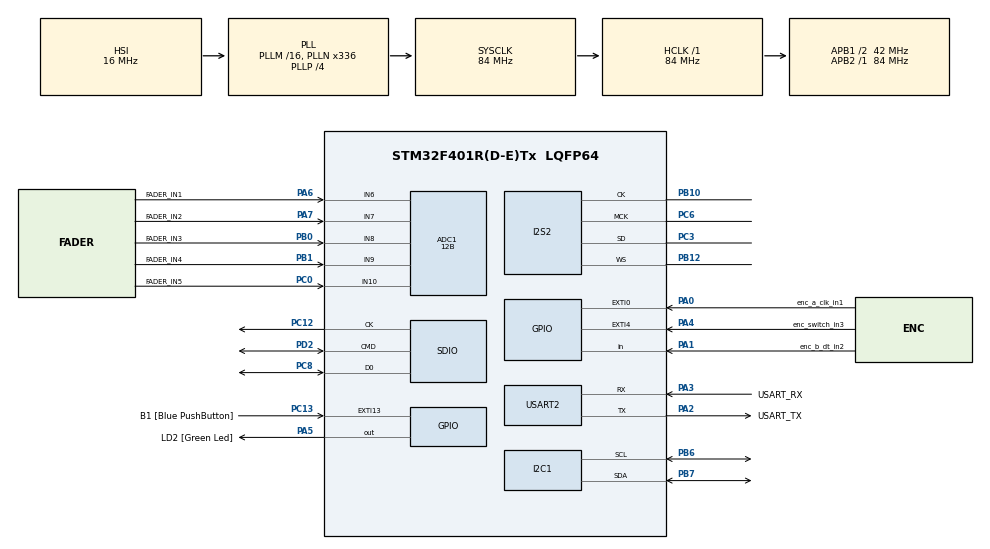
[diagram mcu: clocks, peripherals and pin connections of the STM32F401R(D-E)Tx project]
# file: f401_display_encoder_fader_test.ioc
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ADC1.Channel-0\#ChannelRegularConversion=ADC_CHANNEL_6
ADC1.Channel-1\#ChannelRegularConversion=ADC_CHANNEL_7
ADC1.Channel-2\#ChannelInjectedConversion=ADC_CHANNEL_6
ADC1.Channel-5\#ChannelRegularConversion=ADC_CHANNEL_8
ADC1.Channel-6\#ChannelRegularConversion=ADC_CHANNEL_9
ADC1.Channel-7\#ChannelRegularConversion=ADC_CHANNEL_10
ADC1.ContinuousConvMode=ENABLE
ADC1.DMAContinuousRequests=ENABLE
ADC1.DiscontinuousConvMode=DISABLE
ADC1.EOCSelection=ADC_EOC_SINGLE_CONV
ADC1.InjNumberOfConversion=1
ADC1.InjectedOffset-2\#ChannelInjectedConversion=0
ADC1.InjectedRank-2\#ChannelInjectedConversion=1
ADC1.NbrOfConversion=5
ADC1.NbrOfConversionFlag=1
ADC1.Rank-0\#ChannelRegularConversion=1
ADC1.Rank-1\#ChannelRegularConversion=2
ADC1.Rank-5\#ChannelRegularConversion=3
ADC1.Rank-6\#ChannelRegularConversion=4
ADC1.Rank-7\#ChannelRegularConversion=5
ADC1.Resolution=ADC_RESOLUTION_12B
ADC1.SamplingTime-0\#ChannelRegularConversion=ADC_SAMPLETIME_3CYCLES
ADC1.SamplingTime-1\#ChannelRegularConversion=ADC_SAMPLETIME_3CYCLES
ADC1.SamplingTime-2\#ChannelInjectedConversion=ADC_SAMPLETIME_3CYCLES
ADC1.SamplingTime-5\#ChannelRegularConversion=ADC_SAMPLETIME_3CYCLES
ADC1.SamplingTime-6\#ChannelRegularConversion=ADC_SAMPLETIME_3CYCLES
ADC1.SamplingTime-7\#ChannelRegularConversion=ADC_SAMPLETIME_3CYCLES
ADC1.master=1
Dma.ADC1.0.Direction=DMA_PERIPH_TO_MEMORY
Dma.ADC1.0.FIFOMode=DMA_FIFOMODE_DISABLE
Dma.ADC1.0.Instance=DMA2_Stream0
Dma.ADC1.0.MemDataAlignment=DMA_MDATAALIGN_WORD
Dma.ADC1.0.MemInc=DMA_MINC_ENABLE
Dma.ADC1.0.Mode=DMA_CIRCULAR
Dma.ADC1.0.PeriphDataAlignment=DMA_PDATAALIGN_WORD
Dma.ADC1.0.PeriphInc=DMA_PINC_DISABLE
Dma.ADC1.0.Priority=DMA_PRIORITY_LOW
Dma.Request0=ADC1
Dma.Request1=SDIO_RX
Dma.Request2=SDIO_TX
<<<<<<< HEAD:f401_display_encoder_fader_audio_integration/f401_display_encoder_fader_test.ioc
=======
Dma.Request3=SPI2_TX
>>>>>>> c7ea2e0bfee7c0fb2f2219cbbc4721e5d281f12d:f401_display_encoder_fader_test/f401_display_encoder_fader_test.ioc
Dma.SDIO_RX.1.Direction=DMA_PERIPH_TO_MEMORY
Dma.SDIO_RX.1.FIFOMode=DMA_FIFOMODE_ENABLE
Dma.SDIO_RX.1.FIFOThreshold=DMA_FIFO_THRESHOLD_FULL
Dma.SDIO_RX.1.Instance=DMA2_Stream3
Dma.SDIO_RX.1.MemBurst=DMA_MBURST_INC4
Dma.SDIO_RX.1.MemDataAlignment=DMA_MDATAALIGN_WORD
Dma.SDIO_RX.1.MemInc=DMA_MINC_ENABLE
Dma.SDIO_RX.1.Mode=DMA_PFCTRL
Dma.SDIO_RX.1.PeriphBurst=DMA_PBURST_INC4
Dma.SDIO_RX.1.PeriphDataAlignment=DMA_PDATAALIGN_WORD
Dma.SDIO_RX.1.PeriphInc=DMA_PINC_DISABLE
Dma.SDIO_RX.1.Priority=DMA_PRIORITY_LOW
Dma.SDIO_TX.2.Direction=DMA_MEMORY_TO_PERIPH
Dma.SDIO_TX.2.FIFOMode=DMA_FIFOMODE_ENABLE
Dma.SDIO_TX.2.FIFOThreshold=DMA_FIFO_THRESHOLD_FULL
Dma.SDIO_TX.2.Instance=DMA2_Stream6
Dma.SDIO_TX.2.MemBurst=DMA_MBURST_INC4
Dma.SDIO_TX.2.MemDataAlignment=DMA_MDATAALIGN_WORD
Dma.SDIO_TX.2.MemInc=DMA_MINC_ENABLE
Dma.SDIO_TX.2.Mode=DMA_PFCTRL
Dma.SDIO_TX.2.PeriphBurst=DMA_PBURST_INC4
Dma.SDIO_TX.2.PeriphDataAlignment=DMA_PDATAALIGN_WORD
Dma.SDIO_TX.2.PeriphInc=DMA_PINC_DISABLE
Dma.SDIO_TX.2.Priority=DMA_PRIORITY_LOW
<<<<<<< HEAD:f401_display_encoder_fader_audio_integration/f401_display_encoder_fader_test.ioc
=======
Dma.SPI2_TX.3.Direction=DMA_MEMORY_TO_PERIPH
Dma.SPI2_TX.3.FIFOMode=DMA_FIFOMODE_DISABLE
Dma.SPI2_TX.3.Instance=DMA1_Stream4
Dma.SPI2_TX.3.MemDataAlignment=DMA_MDATAALIGN_HALFWORD
Dma.SPI2_TX.3.MemInc=DMA_MINC_ENABLE
Dma.SPI2_TX.3.Mode=DMA_CIRCULAR
Dma.SPI2_TX.3.PeriphDataAlignment=DMA_PDATAALIGN_HALFWORD
Dma.SPI2_TX.3.PeriphInc=DMA_PINC_DISABLE
Dma.SPI2_TX.3.Priority=DMA_PRIORITY_LOW
>>>>>>> c7ea2e0bfee7c0fb2f2219cbbc4721e5d281f12d:f401_display_encoder_fader_test/f401_display_encoder_fader_test.ioc
FATFS._MAX_SS=4096
FATFS._USE_LFN=1
I2S2.AudioFreq=I2S_AUDIOFREQ_44K
I2S2.ErrorAudioFreq=-5.3 %
I2S2.FullDuplexMode=I2S_FULLDUPLEXMODE_DISABLE
I2S2.Instance=SPI$Index
I2S2.RealAudioFreq=41.666 KHz
I2S2.VirtualMode=I2S_MODE_MASTER
Mcu.Family=STM32F4
<<<<<<< HEAD:f401_display_encoder_fader_audio_integration/f401_display_encoder_fader_test.ioc
=======
>>>>>>> c7ea2e0bfee7c0fb2f2219cbbc4721e5d281f12d:f401_display_encoder_fader_test/f401_display_encoder_fader_test.ioc
Mcu.Name=STM32F401R(D-E)Tx
Mcu.Package=LQFP64
<<<<<<< HEAD:f401_display_encoder_fader_audio_integration/f401_display_encoder_fader_test.ioc
=======
>>>>>>> c7ea2e0bfee7c0fb2f2219cbbc4721e5d281f12d:f401_display_encoder_fader_test/f401_display_encoder_fader_test.ioc
NVIC.ADC_IRQn=true\:0\:0\:false\:false\:true\:true\:true\:true
NVIC.DMA1_Stream4_IRQn=true\:0\:0\:false\:false\:true\:false\:true\:true
NVIC.DMA2_Stream0_IRQn=true\:0\:0\:false\:false\:true\:false\:true\:true
NVIC.DMA2_Stream3_IRQn=true\:0\:0\:false\:false\:true\:false\:true\:true
NVIC.DMA2_Stream6_IRQn=true\:0\:0\:false\:false\:true\:false\:true\:true
NVIC.EXTI0_IRQn=true\:0\:0\:false\:false\:true\:true\:true\:true
NVIC.EXTI15_10_IRQn=true\:0\:0\:false\:false\:true\:true\:true\:true
NVIC.EXTI4_IRQn=true\:0\:0\:false\:false\:true\:true\:true\:true
NVIC.FPU_IRQn=true\:0\:0\:false\:false\:true\:true\:false\:true
NVIC.PriorityGroup=NVIC_PRIORITYGROUP_0
NVIC.SDIO_IRQn=true\:0\:0\:false\:false\:true\:true\:true\:true
<<<<<<< HEAD:f401_display_encoder_fader_audio_integration/f401_display_encoder_fader_test.ioc
=======
NVIC.SPI2_IRQn=true\:0\:0\:false\:false\:true\:true\:true\:true
>>>>>>> c7ea2e0bfee7c0fb2f2219cbbc4721e5d281f12d:f401_display_encoder_fader_test/f401_display_encoder_fader_test.ioc
NVIC.TIM3_IRQn=true\:0\:0\:false\:false\:true\:true\:true\:true
NVIC.TIM5_IRQn=true\:0\:0\:false\:false\:true\:true\:true\:true
NVIC.USART2_IRQn=true\:0\:0\:false\:false\:true\:true\:true\:true
PA0-WKUP.GPIO_Label=enc_a_clk_in1
PA0-WKUP.GPIO_PuPd=GPIO_PULLUP
PA0-WKUP.Signal=GPXTI0
PA1.GPIO_Label=enc_b_dt_in2
PA1.GPIO_PuPd=GPIO_PULLUP
PA1.Signal=GPIO_Input
PA13.GPIO_Label=TMS
PA13.Mode=Serial_Wire
PA13.Signal=SYS_JTMS-SWDIO
PA14.GPIO_Label=TCK
PA14.Mode=Serial_Wire
PA14.Signal=SYS_JTCK-SWCLK
PA2.GPIO_Label=USART_TX
PA2.GPIO_Mode=GPIO_MODE_AF_PP
PA2.GPIO_PuPd=GPIO_NOPULL
PA2.GPIO_Speed=GPIO_SPEED_FREQ_LOW
PA2.Mode=Asynchronous
PA2.Signal=USART2_TX
PA3.GPIO_Label=USART_RX
PA3.GPIO_Mode=GPIO_MODE_AF_PP
PA3.GPIO_PuPd=GPIO_NOPULL
PA3.GPIO_Speed=GPIO_SPEED_FREQ_LOW
PA3.Mode=Asynchronous
PA3.Signal=USART2_RX
PA4.GPIO_Label=enc_switch_in3
PA4.GPIO_PuPd=GPIO_PULLUP
PA4.Signal=GPXTI4
PA5.GPIO_Label=LD2 [Green Led]
PA5.GPIO_Mode=GPIO_MODE_OUTPUT_PP
PA5.GPIO_PuPd=GPIO_NOPULL
PA5.GPIO_Speed=GPIO_SPEED_FREQ_LOW
PA5.Signal=GPIO_Output
PA6.GPIO_Label=FADER_IN1
PA6.Signal=ADCx_IN6
PA7.GPIO_Label=FADER_IN2
PA7.Signal=ADCx_IN7
<<<<<<< HEAD:f401_display_encoder_fader_audio_integration/f401_display_encoder_fader_test.ioc
PB0.Signal=ADCx_IN8
PB1.Signal=ADCx_IN9
=======
PB0.GPIO_Label=FADER_IN3
PB0.Signal=ADCx_IN8
PB1.GPIO_Label=FADER_IN4
PB1.Signal=ADCx_IN9
PB10.Mode=Half_Duplex_Master
PB10.Signal=I2S2_CK
PB12.Mode=Half_Duplex_Master
PB12.Signal=I2S2_WS
>>>>>>> c7ea2e0bfee7c0fb2f2219cbbc4721e5d281f12d:f401_display_encoder_fader_test/f401_display_encoder_fader_test.ioc
PB3.GPIO_Label=SWO
PB3.Signal=SYS_JTDO-SWO
PB6.GPIO_Pu=GPIO_PULLUP
PB6.Mode=I2C
PB6.Signal=I2C1_SCL
PB7.GPIO_Pu=GPIO_PULLUP
PB7.Mode=I2C
PB7.Signal=I2C1_SDA
<<<<<<< HEAD:f401_display_encoder_fader_audio_integration/f401_display_encoder_fader_test.ioc
=======
PC0.GPIO_Label=FADER_IN5
>>>>>>> c7ea2e0bfee7c0fb2f2219cbbc4721e5d281f12d:f401_display_encoder_fader_test/f401_display_encoder_fader_test.ioc
PC0.Signal=ADCx_IN10
PC10.Signal=SDIO_D2
PC11.Signal=SDIO_D3
PC12.Mode=SD_1_bit
PC12.Signal=SDIO_CK
PC13-ANTI_TAMP.GPIO_Label=B1 [Blue PushButton]
PC13-ANTI_TAMP.GPIO_ModeDefaultEXTI=GPIO_MODE_IT_FALLING
PC13-ANTI_TAMP.GPIO_PuPd=GPIO_NOPULL
PC13-ANTI_TAMP.Signal=GPXTI13
PC14-OSC32_IN.Mode=LSE-External-Oscillator
PC14-OSC32_IN.Signal=RCC_OSC32_IN
PC15-OSC32_OUT.Mode=LSE-External-Oscillator
PC15-OSC32_OUT.Signal=RCC_OSC32_OUT
<<<<<<< HEAD:f401_display_encoder_fader_audio_integration/f401_display_encoder_fader_test.ioc
=======
PC3.GPIO_PuPd=GPIO_PULLUP
PC3.Mode=Half_Duplex_Master
PC3.Signal=I2S2_SD
PC6.Mode=Master_Clock_Activated
PC6.Signal=I2S2_MCK
>>>>>>> c7ea2e0bfee7c0fb2f2219cbbc4721e5d281f12d:f401_display_encoder_fader_test/f401_display_encoder_fader_test.ioc
PC8.GPIO_PuPd=GPIO_PULLUP
PC8.Mode=SD_1_bit
PC8.Signal=SDIO_D0
PC9.Signal=SDIO_D1
PD2.GPIO_PuPd=GPIO_PULLUP
PD2.Mode=SD_1_bit
PD2.Signal=SDIO_CMD
PH0\ -\ OSC_IN.Mode=HSE-External-Clock-Source
PH0\ -\ OSC_IN.Signal=RCC_OSC_IN
PH1\ -\ OSC_OUT.Mode=HSE-External-Clock-Source
PH1\ -\ OSC_OUT.Signal=RCC_OSC_OUT
ProjectManager.HeapSize=0x200
ProjectManager.StackSize=0x400
ProjectManager.TargetToolchain=STM32CubeIDE
<<<<<<< HEAD:f401_display_encoder_fader_audio_integration/f401_display_encoder_fader_test.ioc
=======
>>>>>>> c7ea2e0bfee7c0fb2f2219cbbc4721e5d281f12d:f401_display_encoder_fader_test/f401_display_encoder_fader_test.ioc
RCC.48MHZClocksFreq_Value=48000000
RCC.AHBFreq_Value=84000000
RCC.APB1CLKDivider=RCC_HCLK_DIV2
RCC.APB1Freq_Value=42000000
RCC.APB1TimFreq_Value=84000000
RCC.APB2Freq_Value=84000000
RCC.APB2TimFreq_Value=84000000
RCC.CortexFreq_Value=84000000
RCC.HCLKFreq_Value=84000000
RCC.HSE_VALUE=8000000
RCC.HSI_VALUE=16000000
RCC.PLLN=336
RCC.PLLP=RCC_PLLP_DIV4
RCC.PLLQ=7
RCC.SYSCLKFreq_VALUE=84000000
RCC.SYSCLKSource=RCC_SYSCLKSOURCE_PLLCLK
RCC.VCOOutputFreq_Value=336000000
SH.ADCx_IN10.0=ADC1_IN10,IN10
SH.ADCx_IN6.0=ADC1_IN6,IN6
SH.ADCx_IN7.0=ADC1_IN7,IN7
SH.ADCx_IN8.0=ADC1_IN8,IN8
SH.ADCx_IN9.0=ADC1_IN9,IN9
<<<<<<< HEAD:f401_display_encoder_fader_audio_integration/f401_display_encoder_fader_test.ioc
TIM3.Period=5000
=======
TIM3.Period=2500
>>>>>>> c7ea2e0bfee7c0fb2f2219cbbc4721e5d281f12d:f401_display_encoder_fader_test/f401_display_encoder_fader_test.ioc
TIM3.Prescaler=1680
TIM5.Period=8400
TIM5.Prescaler=100
USART2.VirtualMode=VM_ASYNC
VP_FATFS_VS_SDIO.Mode=SDIO
VP_TIM3_VS_ClockSourceINT.Mode=Internal
VP_TIM3_VS_OPM.Mode=OPM_bit
VP_TIM5_VS_ClockSourceINT.Mode=Internal
VP_TIM5_VS_OPM.Mode=OPM_bit
board=NUCLEO-F401RE

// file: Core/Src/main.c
<<<<<<< HEAD:f401_display_encoder_fader_audio_integration/Core/Src/main.c
/* USER CODE BEGIN Header */
/**
  ******************************************************************************
  * @file           : main.c
  * @brief          : Main program body
  ******************************************************************************
  * @attention
  *
  * Copyright (c) 2024 STMicroelectronics.
  * All rights reserved.
  *
  * This software is licensed under terms that can be found in the LICENSE file
  * in the root directory of this software component.
  * If no LICENSE file comes with this software, it is provided AS-IS.
  *
  ******************************************************************************
  */
/* USER CODE END Header */
#include "main.h"
#include "fatfs.h"

/* USER CODE BEGIN Includes */
#include <stdlib.h>
#include <stdbool.h>
#include "ssd1306.h"
#include "fonts.h"
#include "display.h"
#include "filemanager.h"
#include "audio.h"
#include "interface.h"
#include "util.h"
/* USER CODE END Includes */

ADC_HandleTypeDef hadc1;
DMA_HandleTypeDef hdma_adc1;

I2C_HandleTypeDef hi2c1;

SD_HandleTypeDef hsd;
DMA_HandleTypeDef hdma_sdio_rx;
DMA_HandleTypeDef hdma_sdio_tx;

TIM_HandleTypeDef htim3;
TIM_HandleTypeDef htim5;

UART_HandleTypeDef huart2;

/* USER CODE BEGIN PV */
// Filemanager
FileManager fm;
FileManager fmCopy;
char lfn[MAX_FILENAME_LENGTH];
FILINFO fno;
FATFS FatFs; 	//Fatfs handle
FIL file;        // File-Objekt für FatFs
UINT bytesWritten; // Anzahl der geschriebenen Bytes
FRESULT fres; //Result after operations
DIR dir; //Directory

char fileNamesSDCard[MAX_FILES][MAX_FILENAME_LENGTH];
int fileCount = 0;

bool adcDmaFlag = false;
bool updateScreenFlag = false;
//bool sortFilesFlag = false;

uint32_t adcBuffer[NUM_CHANNELS] = {0};

/* USER CODE END PV */

void SystemClock_Config(void);
static void MX_GPIO_Init(void);
static void MX_DMA_Init(void);
static void MX_USART2_UART_Init(void);
static void MX_I2C1_Init(void);
static void MX_TIM5_Init(void);
static void MX_ADC1_Init(void);
static void MX_TIM3_Init(void);
static void MX_SDIO_SD_Init(void);
/* USER CODE BEGIN PFP */
void writeStringToFile(const char *filename, const char *str);
/* USER CODE END PFP */

int main(void)
{

  /* MCU Configuration--------------------------------------------------------*/

  /* Reset of all peripherals, Initializes the Flash interface and the Systick. */
  HAL_Init();

  /* Configure the system clock */
  SystemClock_Config();

  /* Initialize all configured peripherals */
  MX_GPIO_Init();
  MX_DMA_Init();
  MX_USART2_UART_Init();
  MX_I2C1_Init();
  MX_TIM5_Init();
  MX_ADC1_Init();
  MX_TIM3_Init();
  MX_SDIO_SD_Init();
  MX_FATFS_Init();
  /* USER CODE BEGIN 2 */
  //Start DMA for Read Faders
  HAL_ADC_Start_DMA(&hadc1, adcBuffer, NUM_CHANNELS);

  //Open the file system
  fres = f_mount(&FatFs, SDPath, 1); //1=mount now
  if (fres != FR_OK) {
      //uart_printf("f_mount error (%i)\r\n", fres);
      while(1);
  }
  //creatFileManagerFile();

  listFiles("/");
  writeStringToFile("/test.txt", "hallo hallo");
  // Close the file system
  /*fres = f_mount(NULL, "", 0);
  if (fres != FR_OK) {
      //uart_printf("f_mount error (%i)\r\n", fres);
      while(1);
  }*/
  // Init lcd using one of the stm32HAL i2c typedefs
  screenInit(fileNamesSDCard);

  __HAL_TIM_CLEAR_FLAG(&htim3, TIM_FLAG_UPDATE);
  HAL_TIM_Base_Start_IT(&htim3);
  // uint32_t num_samples = 2000;
  // int16_t samples[num_samples];
  // generateWaveform(samples, num_samples);
  // drawWaveform(&hi2c1,samples, num_samples);
  /* USER CODE END 2 */

  /* Infinite loop */
  /* USER CODE BEGIN WHILE */
  while (1)
  {
    // Displaying the files
	if(updateScreenFlag){
		compareADCValues();
		updateScreenFlag = false;
		if(sortFilesFlag == true){
		sortFiles();
		setCursor(&fm);
		sortFilesFlag = false;
		}
		updateScreen();
		writeFileManagerOnSD();
		readFileManagerFromSD();
		if(adcDmaFlag){
	    HAL_ADC_Start_DMA(&hadc1, adcBuffer, NUM_CHANNELS);
	    adcDmaFlag = false;
		}
	}
    /* USER CODE END WHILE */

  }
}

void SystemClock_Config(void)
{
  RCC_OscInitTypeDef RCC_OscInitStruct = {0};
  RCC_ClkInitTypeDef RCC_ClkInitStruct = {0};

  /** Configure the main internal regulator output voltage
  */
  __HAL_RCC_PWR_CLK_ENABLE();
  __HAL_PWR_VOLTAGESCALING_CONFIG(PWR_REGULATOR_VOLTAGE_SCALE2);

  /** Initializes the RCC Oscillators according to the specified parameters
  * in the RCC_OscInitTypeDef structure.
  */
  RCC_OscInitStruct.OscillatorType = RCC_OSCILLATORTYPE_HSI;
  RCC_OscInitStruct.HSIState = RCC_HSI_ON;
  RCC_OscInitStruct.HSICalibrationValue = RCC_HSICALIBRATION_DEFAULT;
  RCC_OscInitStruct.PLL.PLLState = RCC_PLL_ON;
  RCC_OscInitStruct.PLL.PLLSource = RCC_PLLSOURCE_HSI;
  RCC_OscInitStruct.PLL.PLLM = 16;
  RCC_OscInitStruct.PLL.PLLN = 336;
  RCC_OscInitStruct.PLL.PLLP = RCC_PLLP_DIV4;
  RCC_OscInitStruct.PLL.PLLQ = 7;
  if (HAL_RCC_OscConfig(&RCC_OscInitStruct) != HAL_OK)
  {
    Error_Handler();
  }

  /** Initializes the CPU, AHB and APB buses clocks
  */
  RCC_ClkInitStruct.ClockType = RCC_CLOCKTYPE_HCLK|RCC_CLOCKTYPE_SYSCLK
                              |RCC_CLOCKTYPE_PCLK1|RCC_CLOCKTYPE_PCLK2;
  RCC_ClkInitStruct.SYSCLKSource = RCC_SYSCLKSOURCE_PLLCLK;
  RCC_ClkInitStruct.AHBCLKDivider = RCC_SYSCLK_DIV1;
  RCC_ClkInitStruct.APB1CLKDivider = RCC_HCLK_DIV2;
  RCC_ClkInitStruct.APB2CLKDivider = RCC_HCLK_DIV1;

  if (HAL_RCC_ClockConfig(&RCC_ClkInitStruct, FLASH_LATENCY_2) != HAL_OK)
  {
    Error_Handler();
  }
}

static void MX_ADC1_Init(void)
{

  ADC_ChannelConfTypeDef sConfig = {0};
  ADC_InjectionConfTypeDef sConfigInjected = {0};

  /** Configure the global features of the ADC (Clock, Resolution, Data Alignment and number of conversion)
  */
  hadc1.Instance = ADC1;
  hadc1.Init.ClockPrescaler = ADC_CLOCK_SYNC_PCLK_DIV4;
  hadc1.Init.Resolution = ADC_RESOLUTION_12B;
  hadc1.Init.ScanConvMode = ENABLE;
  hadc1.Init.ContinuousConvMode = ENABLE;
  hadc1.Init.DiscontinuousConvMode = DISABLE;
  hadc1.Init.ExternalTrigConvEdge = ADC_EXTERNALTRIGCONVEDGE_NONE;
  hadc1.Init.ExternalTrigConv = ADC_SOFTWARE_START;
  hadc1.Init.DataAlign = ADC_DATAALIGN_RIGHT;
  hadc1.Init.NbrOfConversion = 5;
  hadc1.Init.DMAContinuousRequests = ENABLE;
  hadc1.Init.EOCSelection = ADC_EOC_SINGLE_CONV;
  if (HAL_ADC_Init(&hadc1) != HAL_OK)
  {
    Error_Handler();
  }

  /** Configure for the selected ADC regular channel its corresponding rank in the sequencer and its sample time.
  */
  sConfig.Channel = ADC_CHANNEL_6;
  sConfig.Rank = 1;
  sConfig.SamplingTime = ADC_SAMPLETIME_3CYCLES;
  if (HAL_ADC_ConfigChannel(&hadc1, &sConfig) != HAL_OK)
  {
    Error_Handler();
  }

  /** Configure for the selected ADC regular channel its corresponding rank in the sequencer and its sample time.
  */
  sConfig.Channel = ADC_CHANNEL_7;
  sConfig.Rank = 2;
  if (HAL_ADC_ConfigChannel(&hadc1, &sConfig) != HAL_OK)
  {
    Error_Handler();
  }

  /** Configure for the selected ADC regular channel its corresponding rank in the sequencer and its sample time.
  */
  sConfig.Channel = ADC_CHANNEL_8;
  sConfig.Rank = 3;
  if (HAL_ADC_ConfigChannel(&hadc1, &sConfig) != HAL_OK)
  {
    Error_Handler();
  }

  /** Configure for the selected ADC regular channel its corresponding rank in the sequencer and its sample time.
  */
  sConfig.Channel = ADC_CHANNEL_9;
  sConfig.Rank = 4;
  if (HAL_ADC_ConfigChannel(&hadc1, &sConfig) != HAL_OK)
  {
    Error_Handler();
  }

  /** Configure for the selected ADC regular channel its corresponding rank in the sequencer and its sample time.
  */
  sConfig.Channel = ADC_CHANNEL_10;
  sConfig.Rank = 5;
  if (HAL_ADC_ConfigChannel(&hadc1, &sConfig) != HAL_OK)
  {
    Error_Handler();
  }

  /** Configures for the selected ADC injected channel its corresponding rank in the sequencer and its sample time
  */
  sConfigInjected.InjectedChannel = ADC_CHANNEL_6;
  sConfigInjected.InjectedRank = 1;
  sConfigInjected.InjectedNbrOfConversion = 1;
  sConfigInjected.InjectedSamplingTime = ADC_SAMPLETIME_3CYCLES;
  sConfigInjected.ExternalTrigInjecConvEdge = ADC_EXTERNALTRIGINJECCONVEDGE_NONE;
  sConfigInjected.ExternalTrigInjecConv = ADC_INJECTED_SOFTWARE_START;
  sConfigInjected.AutoInjectedConv = DISABLE;
  sConfigInjected.InjectedDiscontinuousConvMode = DISABLE;
  sConfigInjected.InjectedOffset = 0;
  if (HAL_ADCEx_InjectedConfigChannel(&hadc1, &sConfigInjected) != HAL_OK)
  {
    Error_Handler();
  }

}

static void MX_I2C1_Init(void)
{

  hi2c1.Instance = I2C1;
  hi2c1.Init.ClockSpeed = 100000;
  hi2c1.Init.DutyCycle = I2C_DUTYCYCLE_2;
  hi2c1.Init.OwnAddress1 = 0;
  hi2c1.Init.AddressingMode = I2C_ADDRESSINGMODE_7BIT;
  hi2c1.Init.DualAddressMode = I2C_DUALADDRESS_DISABLE;
  hi2c1.Init.OwnAddress2 = 0;
  hi2c1.Init.GeneralCallMode = I2C_GENERALCALL_DISABLE;
  hi2c1.Init.NoStretchMode = I2C_NOSTRETCH_DISABLE;
  if (HAL_I2C_Init(&hi2c1) != HAL_OK)
  {
    Error_Handler();
  }

}

static void MX_SDIO_SD_Init(void)
{

  hsd.Instance = SDIO;
  hsd.Init.ClockEdge = SDIO_CLOCK_EDGE_RISING;
  hsd.Init.ClockBypass = SDIO_CLOCK_BYPASS_DISABLE;
  hsd.Init.ClockPowerSave = SDIO_CLOCK_POWER_SAVE_DISABLE;
  hsd.Init.BusWide = SDIO_BUS_WIDE_1B;
  hsd.Init.HardwareFlowControl = SDIO_HARDWARE_FLOW_CONTROL_DISABLE;
  hsd.Init.ClockDiv = 0;
  /* USER CODE BEGIN SDIO_Init 2 */
  if (HAL_SD_Init(&hsd) != HAL_OK)
  {
    Error_Handler();
  }
  if (HAL_SD_ConfigWideBusOperation(&hsd, SDIO_BUS_WIDE_4B) != HAL_OK)
  {
    Error_Handler();
  }

  /* USER CODE END SDIO_Init 2 */

}

static void MX_TIM3_Init(void)
{

  TIM_ClockConfigTypeDef sClockSourceConfig = {0};
  TIM_MasterConfigTypeDef sMasterConfig = {0};

  htim3.Instance = TIM3;
  htim3.Init.Prescaler = 1680;
  htim3.Init.CounterMode = TIM_COUNTERMODE_UP;
  htim3.Init.Period = 5000;
  htim3.Init.ClockDivision = TIM_CLOCKDIVISION_DIV1;
  htim3.Init.AutoReloadPreload = TIM_AUTORELOAD_PRELOAD_DISABLE;
  if (HAL_TIM_Base_Init(&htim3) != HAL_OK)
  {
    Error_Handler();
  }
  sClockSourceConfig.ClockSource = TIM_CLOCKSOURCE_INTERNAL;
  if (HAL_TIM_ConfigClockSource(&htim3, &sClockSourceConfig) != HAL_OK)
  {
    Error_Handler();
  }
  if (HAL_TIM_OnePulse_Init(&htim3, TIM_OPMODE_SINGLE) != HAL_OK)
  {
    Error_Handler();
  }
  sMasterConfig.MasterOutputTrigger = TIM_TRGO_RESET;
  sMasterConfig.MasterSlaveMode = TIM_MASTERSLAVEMODE_DISABLE;
  if (HAL_TIMEx_MasterConfigSynchronization(&htim3, &sMasterConfig) != HAL_OK)
  {
    Error_Handler();
  }

}

static void MX_TIM5_Init(void)
{

  TIM_ClockConfigTypeDef sClockSourceConfig = {0};
  TIM_MasterConfigTypeDef sMasterConfig = {0};

  htim5.Instance = TIM5;
  htim5.Init.Prescaler = 100;
  htim5.Init.CounterMode = TIM_COUNTERMODE_UP;
  htim5.Init.Period = 8400;
  htim5.Init.ClockDivision = TIM_CLOCKDIVISION_DIV1;
  htim5.Init.AutoReloadPreload = TIM_AUTORELOAD_PRELOAD_DISABLE;
  if (HAL_TIM_Base_Init(&htim5) != HAL_OK)
  {
    Error_Handler();
  }
  sClockSourceConfig.ClockSource = TIM_CLOCKSOURCE_INTERNAL;
  if (HAL_TIM_ConfigClockSource(&htim5, &sClockSourceConfig) != HAL_OK)
  {
    Error_Handler();
  }
  if (HAL_TIM_OnePulse_Init(&htim5, TIM_OPMODE_SINGLE) != HAL_OK)
  {
    Error_Handler();
  }
  sMasterConfig.MasterOutputTrigger = TIM_TRGO_RESET;
  sMasterConfig.MasterSlaveMode = TIM_MASTERSLAVEMODE_DISABLE;
  if (HAL_TIMEx_MasterConfigSynchronization(&htim5, &sMasterConfig) != HAL_OK)
  {
    Error_Handler();
  }

}

static void MX_USART2_UART_Init(void)
{

  huart2.Instance = USART2;
  huart2.Init.BaudRate = 115200;
  huart2.Init.WordLength = UART_WORDLENGTH_8B;
  huart2.Init.StopBits = UART_STOPBITS_1;
  huart2.Init.Parity = UART_PARITY_NONE;
  huart2.Init.Mode = UART_MODE_TX_RX;
  huart2.Init.HwFlowCtl = UART_HWCONTROL_NONE;
  huart2.Init.OverSampling = UART_OVERSAMPLING_16;
  if (HAL_UART_Init(&huart2) != HAL_OK)
  {
    Error_Handler();
  }

}

static void MX_DMA_Init(void)
{

  /* DMA controller clock enable */
  __HAL_RCC_DMA2_CLK_ENABLE();

  /* DMA interrupt init */
  /* DMA2_Stream0_IRQn interrupt configuration */
  HAL_NVIC_SetPriority(DMA2_Stream0_IRQn, 0, 0);
  HAL_NVIC_EnableIRQ(DMA2_Stream0_IRQn);
  /* DMA2_Stream3_IRQn interrupt configuration */
  HAL_NVIC_SetPriority(DMA2_Stream3_IRQn, 0, 0);
  HAL_NVIC_EnableIRQ(DMA2_Stream3_IRQn);
  /* DMA2_Stream6_IRQn interrupt configuration */
  HAL_NVIC_SetPriority(DMA2_Stream6_IRQn, 0, 0);
  HAL_NVIC_EnableIRQ(DMA2_Stream6_IRQn);

}

static void MX_GPIO_Init(void)
{
  GPIO_InitTypeDef GPIO_InitStruct = {0};

  /* GPIO Ports Clock Enable */
  __HAL_RCC_GPIOC_CLK_ENABLE();
  __HAL_RCC_GPIOH_CLK_ENABLE();
  __HAL_RCC_GPIOA_CLK_ENABLE();
  __HAL_RCC_GPIOB_CLK_ENABLE();
  __HAL_RCC_GPIOD_CLK_ENABLE();

  /*Configure GPIO pin Output Level */
  HAL_GPIO_WritePin(LD2_GPIO_Port, LD2_Pin, GPIO_PIN_RESET);

  /*Configure GPIO pin : B1_Pin */
  GPIO_InitStruct.Pin = B1_Pin;
  GPIO_InitStruct.Mode = GPIO_MODE_IT_FALLING;
  GPIO_InitStruct.Pull = GPIO_NOPULL;
  HAL_GPIO_Init(B1_GPIO_Port, &GPIO_InitStruct);

  /*Configure GPIO pins : enc_a_clk_in1_Pin enc_switch_in3_Pin */
  GPIO_InitStruct.Pin = enc_a_clk_in1_Pin|enc_switch_in3_Pin;
  GPIO_InitStruct.Mode = GPIO_MODE_IT_RISING;
  GPIO_InitStruct.Pull = GPIO_PULLUP;
  HAL_GPIO_Init(GPIOA, &GPIO_InitStruct);

  /*Configure GPIO pin : enc_b_dt_in2_Pin */
  GPIO_InitStruct.Pin = enc_b_dt_in2_Pin;
  GPIO_InitStruct.Mode = GPIO_MODE_INPUT;
  GPIO_InitStruct.Pull = GPIO_PULLUP;
  HAL_GPIO_Init(enc_b_dt_in2_GPIO_Port, &GPIO_InitStruct);

  /*Configure GPIO pin : LD2_Pin */
  GPIO_InitStruct.Pin = LD2_Pin;
  GPIO_InitStruct.Mode = GPIO_MODE_OUTPUT_PP;
  GPIO_InitStruct.Pull = GPIO_NOPULL;
  GPIO_InitStruct.Speed = GPIO_SPEED_FREQ_LOW;
  HAL_GPIO_Init(LD2_GPIO_Port, &GPIO_InitStruct);

  /* EXTI interrupt init*/
  HAL_NVIC_SetPriority(EXTI0_IRQn, 0, 0);
  HAL_NVIC_EnableIRQ(EXTI0_IRQn);

  HAL_NVIC_SetPriority(EXTI4_IRQn, 0, 0);
  HAL_NVIC_EnableIRQ(EXTI4_IRQn);

  HAL_NVIC_SetPriority(EXTI15_10_IRQn, 0, 0);
  HAL_NVIC_EnableIRQ(EXTI15_10_IRQn);

}

/* USER CODE BEGIN 4 */
void writeStringToFile(const char *filename, const char *str)
{
	FIL file;        // FatFs File-Objekt
	FRESULT res;     // FatFs Ergebniscode
	UINT bytesWritten; // Anzahl der geschriebenen Bytes

    // Datei im Schreibmodus öffnen oder erstellen
    res = f_open(&file, "test.txt", FA_WRITE | FA_CREATE_ALWAYS);
    if (res != FR_OK)
    {
        printf("Fehler beim Öffnen/Erstellen der Datei %s: %d\n", filename, res);
        return;
    }

    // String in die Datei schreiben
    res = f_write(&file, "Das", 4, &bytesWritten);

 if (res != FR_OK || bytesWritten != strlen(str))
    {
        printf("Fehler beim Schreiben der Daten in die Datei %s\n", filename);
        f_close(&file);
        return;
    }

    // Datei schließen
    f_close(&file);

    printf("String erfolgreich in Datei '%s' geschrieben.\n", filename);
}
/* USER CODE END 4 */

void Error_Handler(void)
{
  __disable_irq();
  while (1)
  {
  }
}

=======
/* USER CODE BEGIN Header */
/**
  ******************************************************************************
  * @file           : main.c
  * @brief          : Main program body
  ******************************************************************************
  * @attention
  *
  * Copyright (c) 2024 STMicroelectronics.
  * All rights reserved.
  *
  * This software is licensed under terms that can be found in the LICENSE file
  * in the root directory of this software component.
  * If no LICENSE file comes with this software, it is provided AS-IS.
  *
  ******************************************************************************
  */
/* USER CODE END Header */
#include "main.h"
#include "fatfs.h"

/* USER CODE BEGIN Includes */
#include <stdlib.h>
#include <stdbool.h>
#include "ssd1306.h"
#include "fonts.h"
#include "display.h"
#include "filemanager.h"
#include "audio.h"
#include "interface.h"
#include "util.h"
/* USER CODE END Includes */

ADC_HandleTypeDef hadc1;
DMA_HandleTypeDef hdma_adc1;

I2C_HandleTypeDef hi2c1;

I2S_HandleTypeDef hi2s2;
DMA_HandleTypeDef hdma_spi2_tx;

SD_HandleTypeDef hsd;
DMA_HandleTypeDef hdma_sdio_rx;
DMA_HandleTypeDef hdma_sdio_tx;

TIM_HandleTypeDef htim3;
TIM_HandleTypeDef htim5;

UART_HandleTypeDef huart2;

/* USER CODE BEGIN PV */
// Filemanager
FileManager fm;
// Filemanger Copy for Testing
FileManager fmCopy;
// String für Filename
char lfn[MAX_FILENAME_LENGTH];
// FileInfo Handle for the Filename Displaying
FILINFO fno;
FATFS FatFs; 	//Fatfs handle
FIL file;        // File-Objekt für FatFs
UINT bytesWritten; // Anzahl der geschriebenen Bytes
FRESULT fres; //Result after operations
DIR dir; //Directory

//List of all filnames on the SD Card with .wav ending
char fileNamesSDCard[MAX_FILES][MAX_FILENAME_LENGTH];
int fileCount = 0;
// Flag to Manage the time interval in which the dma is working
bool adcDmaFlag = false;
// Update Flag to manage the time interval in which is the display get refreshed
bool updateScreenFlag = false;
//bool sortFilesFlag = false;

// Buffer for the ADC Polling
uint32_t adcBuffer[NUM_CHANNELS] = {0};

/* USER CODE END PV */

void SystemClock_Config(void);
static void MX_GPIO_Init(void);
static void MX_DMA_Init(void);
static void MX_USART2_UART_Init(void);
static void MX_I2C1_Init(void);
static void MX_TIM5_Init(void);
static void MX_ADC1_Init(void);
static void MX_TIM3_Init(void);
static void MX_SDIO_SD_Init(void);
static void MX_I2S2_Init(void);
/* USER CODE BEGIN PFP */
void writeStringToFile(const char *filename, const char *str);
/* USER CODE END PFP */

int main(void)
{

  /* MCU Configuration--------------------------------------------------------*/

  /* Reset of all peripherals, Initializes the Flash interface and the Systick. */
  HAL_Init();

  /* Configure the system clock */
  SystemClock_Config();

  /* Initialize all configured peripherals */
  MX_GPIO_Init();
  MX_DMA_Init();
  MX_USART2_UART_Init();
  MX_I2C1_Init();
  MX_TIM5_Init();
  MX_ADC1_Init();
  MX_TIM3_Init();
  MX_SDIO_SD_Init();
  MX_FATFS_Init();
  MX_I2S2_Init();
  /* USER CODE BEGIN 2 */
  //Start DMA for Read Faders
  HAL_ADC_Start_DMA(&hadc1, adcBuffer, NUM_CHANNELS);

  //Open the file system
  fres = f_mount(&FatFs, SDPath, 1); //1=mount now
  if (fres != FR_OK) {
      //uart_printf("f_mount error (%i)\r\n", fres);
      while(1);
  }
  //creatFileManagerFile();

  //Get all File Names from SD
  listFiles("/");
  /* TESTING OF WRITE OPERATIONS ON THE SD
  //writeStringToFile("/test.txt", "hallo hallo");
  // Close the file system
  /*fres = f_mount(NULL, "", 0);
  if (fres != FR_OK) {
      //uart_printf("f_mount error (%i)\r\n", fres);
      while(1);
  }*/
  // Init lcd with the Filename from SD Card
  screenInit(fileNamesSDCard);

  __HAL_TIM_CLEAR_FLAG(&htim3, TIM_FLAG_UPDATE);
  HAL_TIM_Base_Start_IT(&htim3);
  // uint32_t num_samples = 2000;
  // int16_t samples[num_samples];
  // generateWaveform(samples, num_samples);
  // drawWaveform(&hi2c1,samples, num_samples);
  /* USER CODE END 2 */

  /* Infinite loop */
  /* USER CODE BEGIN WHILE */
  while (1)
  {
	if(updateScreenFlag){
		compareADCValues();
		updateScreenFlag = false;

		if(sortFilesFlag == true){
		sortFiles();
		setCursor(&fm);
		sortFilesFlag = false;
		}
		updateScreen();
		//writeFileManagerOnSD();
		//readFileManagerFromSD();
		if(adcDmaFlag){
	    HAL_ADC_Start_DMA(&hadc1, adcBuffer, NUM_CHANNELS);
	    adcDmaFlag = false;
		}
	}
    /* USER CODE END WHILE */

  }
}

void SystemClock_Config(void)
{
  RCC_OscInitTypeDef RCC_OscInitStruct = {0};
  RCC_ClkInitTypeDef RCC_ClkInitStruct = {0};

  /** Configure the main internal regulator output voltage
  */
  __HAL_RCC_PWR_CLK_ENABLE();
  __HAL_PWR_VOLTAGESCALING_CONFIG(PWR_REGULATOR_VOLTAGE_SCALE2);

  /** Initializes the RCC Oscillators according to the specified parameters
  * in the RCC_OscInitTypeDef structure.
  */
  RCC_OscInitStruct.OscillatorType = RCC_OSCILLATORTYPE_HSI;
  RCC_OscInitStruct.HSIState = RCC_HSI_ON;
  RCC_OscInitStruct.HSICalibrationValue = RCC_HSICALIBRATION_DEFAULT;
  RCC_OscInitStruct.PLL.PLLState = RCC_PLL_ON;
  RCC_OscInitStruct.PLL.PLLSource = RCC_PLLSOURCE_HSI;
  RCC_OscInitStruct.PLL.PLLM = 16;
  RCC_OscInitStruct.PLL.PLLN = 336;
  RCC_OscInitStruct.PLL.PLLP = RCC_PLLP_DIV4;
  RCC_OscInitStruct.PLL.PLLQ = 7;
  if (HAL_RCC_OscConfig(&RCC_OscInitStruct) != HAL_OK)
  {
    Error_Handler();
  }

  /** Initializes the CPU, AHB and APB buses clocks
  */
  RCC_ClkInitStruct.ClockType = RCC_CLOCKTYPE_HCLK|RCC_CLOCKTYPE_SYSCLK
                              |RCC_CLOCKTYPE_PCLK1|RCC_CLOCKTYPE_PCLK2;
  RCC_ClkInitStruct.SYSCLKSource = RCC_SYSCLKSOURCE_PLLCLK;
  RCC_ClkInitStruct.AHBCLKDivider = RCC_SYSCLK_DIV1;
  RCC_ClkInitStruct.APB1CLKDivider = RCC_HCLK_DIV2;
  RCC_ClkInitStruct.APB2CLKDivider = RCC_HCLK_DIV1;

  if (HAL_RCC_ClockConfig(&RCC_ClkInitStruct, FLASH_LATENCY_2) != HAL_OK)
  {
    Error_Handler();
  }
}

static void MX_ADC1_Init(void)
{

  ADC_ChannelConfTypeDef sConfig = {0};
  ADC_InjectionConfTypeDef sConfigInjected = {0};

  /** Configure the global features of the ADC (Clock, Resolution, Data Alignment and number of conversion)
  */
  hadc1.Instance = ADC1;
  hadc1.Init.ClockPrescaler = ADC_CLOCK_SYNC_PCLK_DIV4;
  hadc1.Init.Resolution = ADC_RESOLUTION_12B;
  hadc1.Init.ScanConvMode = ENABLE;
  hadc1.Init.ContinuousConvMode = ENABLE;
  hadc1.Init.DiscontinuousConvMode = DISABLE;
  hadc1.Init.ExternalTrigConvEdge = ADC_EXTERNALTRIGCONVEDGE_NONE;
  hadc1.Init.ExternalTrigConv = ADC_SOFTWARE_START;
  hadc1.Init.DataAlign = ADC_DATAALIGN_RIGHT;
  hadc1.Init.NbrOfConversion = 5;
  hadc1.Init.DMAContinuousRequests = ENABLE;
  hadc1.Init.EOCSelection = ADC_EOC_SINGLE_CONV;
  if (HAL_ADC_Init(&hadc1) != HAL_OK)
  {
    Error_Handler();
  }

  /** Configure for the selected ADC regular channel its corresponding rank in the sequencer and its sample time.
  */
  sConfig.Channel = ADC_CHANNEL_6;
  sConfig.Rank = 1;
  sConfig.SamplingTime = ADC_SAMPLETIME_3CYCLES;
  if (HAL_ADC_ConfigChannel(&hadc1, &sConfig) != HAL_OK)
  {
    Error_Handler();
  }

  /** Configure for the selected ADC regular channel its corresponding rank in the sequencer and its sample time.
  */
  sConfig.Channel = ADC_CHANNEL_7;
  sConfig.Rank = 2;
  if (HAL_ADC_ConfigChannel(&hadc1, &sConfig) != HAL_OK)
  {
    Error_Handler();
  }

  /** Configure for the selected ADC regular channel its corresponding rank in the sequencer and its sample time.
  */
  sConfig.Channel = ADC_CHANNEL_8;
  sConfig.Rank = 3;
  if (HAL_ADC_ConfigChannel(&hadc1, &sConfig) != HAL_OK)
  {
    Error_Handler();
  }

  /** Configure for the selected ADC regular channel its corresponding rank in the sequencer and its sample time.
  */
  sConfig.Channel = ADC_CHANNEL_9;
  sConfig.Rank = 4;
  if (HAL_ADC_ConfigChannel(&hadc1, &sConfig) != HAL_OK)
  {
    Error_Handler();
  }

  /** Configure for the selected ADC regular channel its corresponding rank in the sequencer and its sample time.
  */
  sConfig.Channel = ADC_CHANNEL_10;
  sConfig.Rank = 5;
  if (HAL_ADC_ConfigChannel(&hadc1, &sConfig) != HAL_OK)
  {
    Error_Handler();
  }

  /** Configures for the selected ADC injected channel its corresponding rank in the sequencer and its sample time
  */
  sConfigInjected.InjectedChannel = ADC_CHANNEL_6;
  sConfigInjected.InjectedRank = 1;
  sConfigInjected.InjectedNbrOfConversion = 1;
  sConfigInjected.InjectedSamplingTime = ADC_SAMPLETIME_3CYCLES;
  sConfigInjected.ExternalTrigInjecConvEdge = ADC_EXTERNALTRIGINJECCONVEDGE_NONE;
  sConfigInjected.ExternalTrigInjecConv = ADC_INJECTED_SOFTWARE_START;
  sConfigInjected.AutoInjectedConv = DISABLE;
  sConfigInjected.InjectedDiscontinuousConvMode = DISABLE;
  sConfigInjected.InjectedOffset = 0;
  if (HAL_ADCEx_InjectedConfigChannel(&hadc1, &sConfigInjected) != HAL_OK)
  {
    Error_Handler();
  }

}

static void MX_I2C1_Init(void)
{

  hi2c1.Instance = I2C1;
  hi2c1.Init.ClockSpeed = 100000;
  hi2c1.Init.DutyCycle = I2C_DUTYCYCLE_2;
  hi2c1.Init.OwnAddress1 = 0;
  hi2c1.Init.AddressingMode = I2C_ADDRESSINGMODE_7BIT;
  hi2c1.Init.DualAddressMode = I2C_DUALADDRESS_DISABLE;
  hi2c1.Init.OwnAddress2 = 0;
  hi2c1.Init.GeneralCallMode = I2C_GENERALCALL_DISABLE;
  hi2c1.Init.NoStretchMode = I2C_NOSTRETCH_DISABLE;
  if (HAL_I2C_Init(&hi2c1) != HAL_OK)
  {
    Error_Handler();
  }

}

static void MX_I2S2_Init(void)
{

  hi2s2.Instance = SPI2;
  hi2s2.Init.Mode = I2S_MODE_MASTER_TX;
  hi2s2.Init.Standard = I2S_STANDARD_PHILIPS;
  hi2s2.Init.DataFormat = I2S_DATAFORMAT_16B;
  hi2s2.Init.MCLKOutput = I2S_MCLKOUTPUT_ENABLE;
  hi2s2.Init.AudioFreq = I2S_AUDIOFREQ_44K;
  hi2s2.Init.CPOL = I2S_CPOL_LOW;
  hi2s2.Init.ClockSource = I2S_CLOCK_PLL;
  hi2s2.Init.FullDuplexMode = I2S_FULLDUPLEXMODE_DISABLE;
  if (HAL_I2S_Init(&hi2s2) != HAL_OK)
  {
    Error_Handler();
  }

}

static void MX_SDIO_SD_Init(void)
{

  hsd.Instance = SDIO;
  hsd.Init.ClockEdge = SDIO_CLOCK_EDGE_RISING;
  hsd.Init.ClockBypass = SDIO_CLOCK_BYPASS_DISABLE;
  hsd.Init.ClockPowerSave = SDIO_CLOCK_POWER_SAVE_DISABLE;
  hsd.Init.BusWide = SDIO_BUS_WIDE_1B;
  hsd.Init.HardwareFlowControl = SDIO_HARDWARE_FLOW_CONTROL_DISABLE;
  hsd.Init.ClockDiv = 0;
  /* USER CODE BEGIN SDIO_Init 2 */
  if (HAL_SD_Init(&hsd) != HAL_OK)
  {
    Error_Handler();
  }
  if (HAL_SD_ConfigWideBusOperation(&hsd, SDIO_BUS_WIDE_4B) != HAL_OK)
  {
    Error_Handler();
  }

  /* USER CODE END SDIO_Init 2 */

}

static void MX_TIM3_Init(void)
{

  TIM_ClockConfigTypeDef sClockSourceConfig = {0};
  TIM_MasterConfigTypeDef sMasterConfig = {0};

  htim3.Instance = TIM3;
  htim3.Init.Prescaler = 1680;
  htim3.Init.CounterMode = TIM_COUNTERMODE_UP;
  htim3.Init.Period = 5000;
  htim3.Init.ClockDivision = TIM_CLOCKDIVISION_DIV1;
  htim3.Init.AutoReloadPreload = TIM_AUTORELOAD_PRELOAD_DISABLE;
  if (HAL_TIM_Base_Init(&htim3) != HAL_OK)
  {
    Error_Handler();
  }
  sClockSourceConfig.ClockSource = TIM_CLOCKSOURCE_INTERNAL;
  if (HAL_TIM_ConfigClockSource(&htim3, &sClockSourceConfig) != HAL_OK)
  {
    Error_Handler();
  }
  if (HAL_TIM_OnePulse_Init(&htim3, TIM_OPMODE_SINGLE) != HAL_OK)
  {
    Error_Handler();
  }
  sMasterConfig.MasterOutputTrigger = TIM_TRGO_RESET;
  sMasterConfig.MasterSlaveMode = TIM_MASTERSLAVEMODE_DISABLE;
  if (HAL_TIMEx_MasterConfigSynchronization(&htim3, &sMasterConfig) != HAL_OK)
  {
    Error_Handler();
  }

}

static void MX_TIM5_Init(void)
{

  TIM_ClockConfigTypeDef sClockSourceConfig = {0};
  TIM_MasterConfigTypeDef sMasterConfig = {0};

  htim5.Instance = TIM5;
  htim5.Init.Prescaler = 100;
  htim5.Init.CounterMode = TIM_COUNTERMODE_UP;
  htim5.Init.Period = 8400;
  htim5.Init.ClockDivision = TIM_CLOCKDIVISION_DIV1;
  htim5.Init.AutoReloadPreload = TIM_AUTORELOAD_PRELOAD_DISABLE;
  if (HAL_TIM_Base_Init(&htim5) != HAL_OK)
  {
    Error_Handler();
  }
  sClockSourceConfig.ClockSource = TIM_CLOCKSOURCE_INTERNAL;
  if (HAL_TIM_ConfigClockSource(&htim5, &sClockSourceConfig) != HAL_OK)
  {
    Error_Handler();
  }
  if (HAL_TIM_OnePulse_Init(&htim5, TIM_OPMODE_SINGLE) != HAL_OK)
  {
    Error_Handler();
  }
  sMasterConfig.MasterOutputTrigger = TIM_TRGO_RESET;
  sMasterConfig.MasterSlaveMode = TIM_MASTERSLAVEMODE_DISABLE;
  if (HAL_TIMEx_MasterConfigSynchronization(&htim5, &sMasterConfig) != HAL_OK)
  {
    Error_Handler();
  }

}

static void MX_USART2_UART_Init(void)
{

  huart2.Instance = USART2;
  huart2.Init.BaudRate = 115200;
  huart2.Init.WordLength = UART_WORDLENGTH_8B;
  huart2.Init.StopBits = UART_STOPBITS_1;
  huart2.Init.Parity = UART_PARITY_NONE;
  huart2.Init.Mode = UART_MODE_TX_RX;
  huart2.Init.HwFlowCtl = UART_HWCONTROL_NONE;
  huart2.Init.OverSampling = UART_OVERSAMPLING_16;
  if (HAL_UART_Init(&huart2) != HAL_OK)
  {
    Error_Handler();
  }

}

static void MX_DMA_Init(void)
{

  /* DMA controller clock enable */
  __HAL_RCC_DMA2_CLK_ENABLE();
  __HAL_RCC_DMA1_CLK_ENABLE();

  /* DMA interrupt init */
  /* DMA1_Stream4_IRQn interrupt configuration */
  HAL_NVIC_SetPriority(DMA1_Stream4_IRQn, 0, 0);
  HAL_NVIC_EnableIRQ(DMA1_Stream4_IRQn);
  /* DMA2_Stream0_IRQn interrupt configuration */
  HAL_NVIC_SetPriority(DMA2_Stream0_IRQn, 0, 0);
  HAL_NVIC_EnableIRQ(DMA2_Stream0_IRQn);
  /* DMA2_Stream3_IRQn interrupt configuration */
  HAL_NVIC_SetPriority(DMA2_Stream3_IRQn, 0, 0);
  HAL_NVIC_EnableIRQ(DMA2_Stream3_IRQn);
  /* DMA2_Stream6_IRQn interrupt configuration */
  HAL_NVIC_SetPriority(DMA2_Stream6_IRQn, 0, 0);
  HAL_NVIC_EnableIRQ(DMA2_Stream6_IRQn);

}

static void MX_GPIO_Init(void)
{
  GPIO_InitTypeDef GPIO_InitStruct = {0};

  /* GPIO Ports Clock Enable */
  __HAL_RCC_GPIOC_CLK_ENABLE();
  __HAL_RCC_GPIOH_CLK_ENABLE();
  __HAL_RCC_GPIOA_CLK_ENABLE();
  __HAL_RCC_GPIOB_CLK_ENABLE();
  __HAL_RCC_GPIOD_CLK_ENABLE();

  /*Configure GPIO pin Output Level */
  HAL_GPIO_WritePin(LD2_GPIO_Port, LD2_Pin, GPIO_PIN_RESET);

  /*Configure GPIO pin : B1_Pin */
  GPIO_InitStruct.Pin = B1_Pin;
  GPIO_InitStruct.Mode = GPIO_MODE_IT_FALLING;
  GPIO_InitStruct.Pull = GPIO_NOPULL;
  HAL_GPIO_Init(B1_GPIO_Port, &GPIO_InitStruct);

  /*Configure GPIO pins : enc_a_clk_in1_Pin enc_switch_in3_Pin */
  GPIO_InitStruct.Pin = enc_a_clk_in1_Pin|enc_switch_in3_Pin;
  GPIO_InitStruct.Mode = GPIO_MODE_IT_RISING;
  GPIO_InitStruct.Pull = GPIO_PULLUP;
  HAL_GPIO_Init(GPIOA, &GPIO_InitStruct);

  /*Configure GPIO pin : enc_b_dt_in2_Pin */
  GPIO_InitStruct.Pin = enc_b_dt_in2_Pin;
  GPIO_InitStruct.Mode = GPIO_MODE_INPUT;
  GPIO_InitStruct.Pull = GPIO_PULLUP;
  HAL_GPIO_Init(enc_b_dt_in2_GPIO_Port, &GPIO_InitStruct);

  /*Configure GPIO pin : LD2_Pin */
  GPIO_InitStruct.Pin = LD2_Pin;
  GPIO_InitStruct.Mode = GPIO_MODE_OUTPUT_PP;
  GPIO_InitStruct.Pull = GPIO_NOPULL;
  GPIO_InitStruct.Speed = GPIO_SPEED_FREQ_LOW;
  HAL_GPIO_Init(LD2_GPIO_Port, &GPIO_InitStruct);

  /* EXTI interrupt init*/
  HAL_NVIC_SetPriority(EXTI0_IRQn, 0, 0);
  HAL_NVIC_EnableIRQ(EXTI0_IRQn);

  HAL_NVIC_SetPriority(EXTI4_IRQn, 0, 0);
  HAL_NVIC_EnableIRQ(EXTI4_IRQn);

  HAL_NVIC_SetPriority(EXTI15_10_IRQn, 0, 0);
  HAL_NVIC_EnableIRQ(EXTI15_10_IRQn);

}

/* USER CODE BEGIN 4 */
/**
 * @brief Writes a string to a file on the SD card.
 *
 * This function opens a file for writing and writes a specified string to it. If the file does not exist, it will be created. The function performs the following actions:
 *
 * - Opens the file specified by `filename` in write mode, creating it if it does not already exist.
 * - Writes the provided string to the file.
 * - Checks for errors during the file operations and reports them.
 * - Closes the file after writing is completed.
 *
 * @param[in] filename The name of the file to write to. (Note: This parameter is not used in the current implementation.)
 * @param[in] str The string to be written to the file.
 *
 * @note In the current implementation, the `filename` parameter is not used, and the file name is hardcoded as `"test.txt"`. Modify the file opening mode and filename if you need to use the provided `filename` parameter.
 */
void writeStringToFile(const char *filename, const char *str)
{
	FIL file;        // FatFs File-Objekt
	FRESULT res;     // FatFs Ergebniscode
	UINT bytesWritten; // Anzahl der geschriebenen Bytes

    // Datei im Schreibmodus öffnen oder erstellen
    res = f_open(&file, "test.txt", FA_WRITE | FA_CREATE_ALWAYS);
    if (res != FR_OK)
    {
        printf("Fehler beim Öffnen/Erstellen der Datei %s: %d\n", filename, res);
        return;
    }

    // String in die Datei schreiben
    res = f_write(&file, "Das", 4, &bytesWritten);

 if (res != FR_OK || bytesWritten != strlen(str))
    {
        printf("Fehler beim Schreiben der Daten in die Datei %s\n", filename);
        f_close(&file);
        return;
    }

    // Datei schließen
    f_close(&file);

    printf("String erfolgreich in Datei '%s' geschrieben.\n", filename);
}
/* USER CODE END 4 */

void Error_Handler(void)
{
  __disable_irq();
  while (1)
  {
  }
}

>>>>>>> c7ea2e0bfee7c0fb2f2219cbbc4721e5d281f12d:f401_display_encoder_fader_test/Core/Src/main.c
